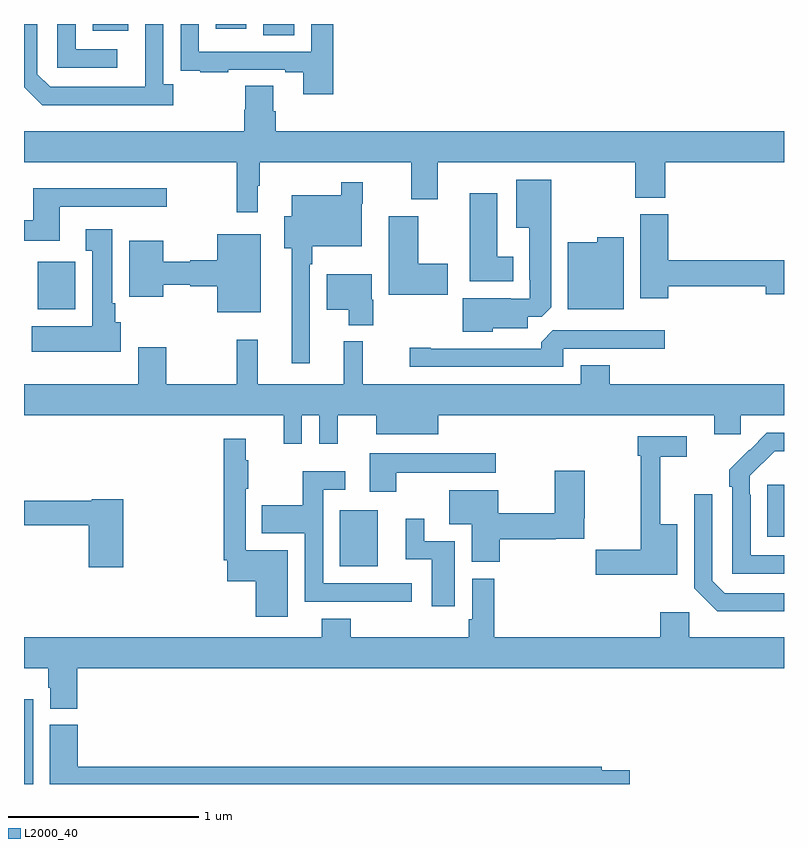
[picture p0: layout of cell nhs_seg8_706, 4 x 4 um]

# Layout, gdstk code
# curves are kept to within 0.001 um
import gdstk
lib = gdstk.Library(unit=1e-6, precision=1e-09)
def R(c, l, rs):  # rectangles x0, y0, x1, y1
    for r in rs: c.add(gdstk.rectangle(r[:2], r[2:], *l))
def P(c, l, *ps):  # polygons
    for p in ps: c.add(gdstk.Polygon(p, *l))
L2000_40 = (2000, 40)

nhs_seg8_706 = lib.new_cell('nhs_seg8_706')
R(nhs_seg8_706, L2000_40, [(157,1107.9,157.048,1108.345), (158.663,1109.045,158.863,1109.341), (160.913,1109.201,161,1109.476), (157.073,1110.398,157.269,1110.649), (158.258,1111.84,158.422,1111.9), (157.361,1111.865,157.549,1111.9), (158.009,1111.875,158.17,1111.9)])
P(nhs_seg8_706, L2000_40, [(158.627,1111.9),(158.511,1111.9),(158.511,1111.755),(157.92,1111.755),(157.92,1111.9),(157.824,1111.9),(157.824,1111.762),(157.825,1111.762),(157.825,1111.653),(157.927,1111.653),(157.927,1111.647),(158.075,1111.647),(158.075,1111.659),(158.375,1111.659),(158.375,1111.647),(158.471,1111.647),(158.471,1111.53),(158.627,1111.53)],
  [(157.492,1111.767),(157.272,1111.767),(157.272,1111.9),(157.176,1111.9),(157.176,1111.671),(157.492,1111.671)],
  [(157.786,1111.582),(157.734,1111.582),(157.734,1111.9),(157.638,1111.9),(157.637,1111.569),(157.137,1111.569),(157.071,1111.635),(157.071,1111.9),(157,1111.9),(157,1111.568),(157.096,1111.472),(157.786,1111.472)],
  [(158.23,1111.049),(158.242,1111.049),(158.242,1111.172),(159.038,1111.172),(159.038,1110.978),(159.178,1110.978),(159.178,1111.172),(160.216,1111.172),(160.216,1110.985),(160.376,1110.985),(160.376,1111.172),(161,1111.172),(161,1111.336),(158.324,1111.336),(158.324,1111.442),(158.311,1111.442),(158.311,1111.574),(158.164,1111.574),(158.164,1111.449),(158.159,1111.449),(158.159,1111.336),(157,1111.336),(157,1111.172),(158.121,1111.172),(158.121,1110.909),(158.23,1110.909)],
  [(159.468,1110.299),(159.652,1110.299),(159.652,1110.36),(159.726,1110.36),(159.775,1110.409),(159.775,1111.081),(159.59,1111.081),(159.59,1110.827),(159.659,1110.827),(159.659,1110.553),(159.663,1110.553),(159.663,1110.453),(159.563,1110.453),(159.563,1110.457),(159.308,1110.457),(159.308,1110.281),(159.468,1110.281)],
  [(158.505,1110.635),(158.518,1110.635),(158.518,1110.731),(158.778,1110.731),(158.778,1110.953),(158.783,1110.953),(158.783,1111.066),(158.67,1111.066),(158.67,1111),(158.408,1111),(158.408,1110.889),(158.369,1110.889),(158.369,1110.719),(158.408,1110.719),(158.408,1110.114),(158.505,1110.114)],
  [(157.189,1110.939),(157.75,1110.939),(157.75,1111.036),(157.049,1111.036),(157.049,1110.868),(157,1110.868),(157,1110.758),(157.189,1110.758)],
  [(159.574,1110.676),(159.49,1110.676),(159.49,1111.009),(159.347,1111.009),(159.347,1110.545),(159.574,1110.545)],
  [(160.391,1110.52),(160.904,1110.52),(160.904,1110.478),(161,1110.478),(161,1110.656),(160.391,1110.656),(160.391,1110.9),(160.244,1110.9),(160.244,1110.456),(160.391,1110.456)],
  [(159.229,1110.639),(159.076,1110.639),(159.076,1110.889),(158.921,1110.889),(158.921,1110.476),(159.229,1110.476)],
  [(157.51,1110.33),(157.48,1110.33),(157.48,1110.43),(157.465,1110.43),(157.465,1110.82),(157.325,1110.82),(157.325,1110.707),(157.358,1110.707),(157.358,1110.31),(157.041,1110.31),(157.041,1110.176),(157.51,1110.176)],
  [(158.245,1110.793),(158.018,1110.793),(158.018,1110.656),(157.875,1110.656),(157.875,1110.649),(157.732,1110.649),(157.732,1110.76),(157.553,1110.76),(157.553,1110.464),(157.732,1110.464),(157.732,1110.528),(157.875,1110.528),(157.875,1110.52),(158.018,1110.52),(158.018,1110.383),(158.245,1110.383)],
  [(160.156,1110.778),(160.017,1110.778),(160.017,1110.751),(159.863,1110.751),(159.863,1110.398),(160.156,1110.398)],
  [(158.838,1110.45),(158.83,1110.45),(158.83,1110.583),(158.594,1110.583),(158.594,1110.395),(158.708,1110.395),(158.708,1110.314),(158.838,1110.314)],
  [(159.837,1110.192),(160.372,1110.192),(160.372,1110.288),(159.783,1110.288),(159.722,1110.226),(159.722,1110.192),(159.142,1110.192),(159.142,1110.197),(159.03,1110.197),(159.03,1110.096),(159.837,1110.096)],
  [(158.463,1109.84),(158.553,1109.84),(158.553,1109.691),(158.651,1109.691),(158.651,1109.84),(158.855,1109.84),(158.855,1109.741),(159.181,1109.741),(159.181,1109.84),(160.634,1109.84),(160.634,1109.742),(160.773,1109.742),(160.773,1109.84),(161,1109.84),(161,1110.004),(160.082,1110.004),(160.082,1110.103),(159.929,1110.103),(159.929,1110.004),(158.784,1110.004),(158.784,1110.229),(158.684,1110.229),(158.684,1110.004),(158.231,1110.004),(158.231,1110.238),(158.121,1110.238),(158.121,1110.004),(157.749,1110.004),(157.749,1110.199),(157.601,1110.199),(157.601,1110.004),(157,1110.004),(157,1109.84),(158.366,1109.84),(158.366,1109.691),(158.463,1109.691)],
  [(161,1109.103),(160.824,1109.103),(160.824,1109.423),(160.821,1109.423),(160.821,1109.523),(160.95,1109.652),(161,1109.652),(161,1109.748),(160.91,1109.748),(160.713,1109.553),(160.713,1109.465),(160.728,1109.465),(160.728,1109.007),(161,1109.007)],
  [(160.438,1109.266),(160.349,1109.266),(160.349,1109.622),(160.489,1109.622),(160.489,1109.73),(160.231,1109.73),(160.231,1109.627),(160.246,1109.627),(160.246,1109.134),(160.008,1109.134),(160.008,1109.002),(160.438,1109.002)],
  [(158.389,1109.131),(158.166,1109.131),(158.166,1109.455),(158.179,1109.455),(158.179,1109.603),(158.168,1109.603),(158.168,1109.716),(158.05,1109.716),(158.05,1109.077),(158.07,1109.077),(158.07,1108.966),(158.219,1108.966),(158.219,1108.779),(158.389,1108.779)],
  [(158.959,1109.537),(159.484,1109.537),(159.484,1109.641),(158.819,1109.641),(158.819,1109.439),(158.959,1109.439)],
  [(159.504,1109.188),(159.798,1109.188),(159.798,1109.19),(159.949,1109.19),(159.949,1109.299),(159.952,1109.299),(159.952,1109.548),(159.794,1109.548),(159.794,1109.324),(159.496,1109.324),(159.496,1109.446),(159.239,1109.446),(159.239,1109.267),(159.356,1109.267),(159.356,1109.07),(159.504,1109.07)],
  [(159.04,1108.956),(158.574,1108.956),(158.574,1109.448),(158.692,1109.448),(158.692,1109.545),(158.466,1109.545),(158.466,1109.367),(158.251,1109.367),(158.251,1109.219),(158.478,1109.219),(158.478,1108.86),(158.803,1108.86),(158.803,1108.859),(159.04,1108.859)],
  [(161,1108.905),(160.689,1108.905),(160.623,1108.971),(160.623,1109.425),(160.527,1109.425),(160.527,1108.929),(160.648,1108.808),(161,1108.808)],
  [(157.523,1109.4),(157.356,1109.4),(157.356,1109.392),(157,1109.392),(157,1109.263),(157.34,1109.263),(157.34,1109.04),(157.523,1109.04)],
  [(159.268,1109.178),(159.106,1109.178),(159.106,1109.296),(159.008,1109.296),(159.008,1109.082),(159.146,1109.082),(159.146,1108.836),(159.268,1108.836)],
  [(157.28,1108.508),(161,1108.508),(161,1108.672),(160.5,1108.672),(160.5,1108.804),(160.349,1108.804),(160.349,1108.672),(159.476,1108.672),(159.476,1108.981),(159.36,1108.981),(159.36,1108.768),(159.34,1108.768),(159.34,1108.672),(158.72,1108.672),(158.72,1108.771),(158.567,1108.771),(158.567,1108.672),(157,1108.672),(157,1108.508),(157.127,1108.508),(157.127,1108.407),(157.139,1108.407),(157.139,1108.297),(157.28,1108.297)],
  [(160.187,1107.972),(160.04,1107.972),(160.04,1107.992),(157.283,1107.992),(157.283,1108.212),(157.136,1108.212),(157.136,1107.9),(160.187,1107.9)])

lib.write_gds('nhs_seg8_706.gds')
